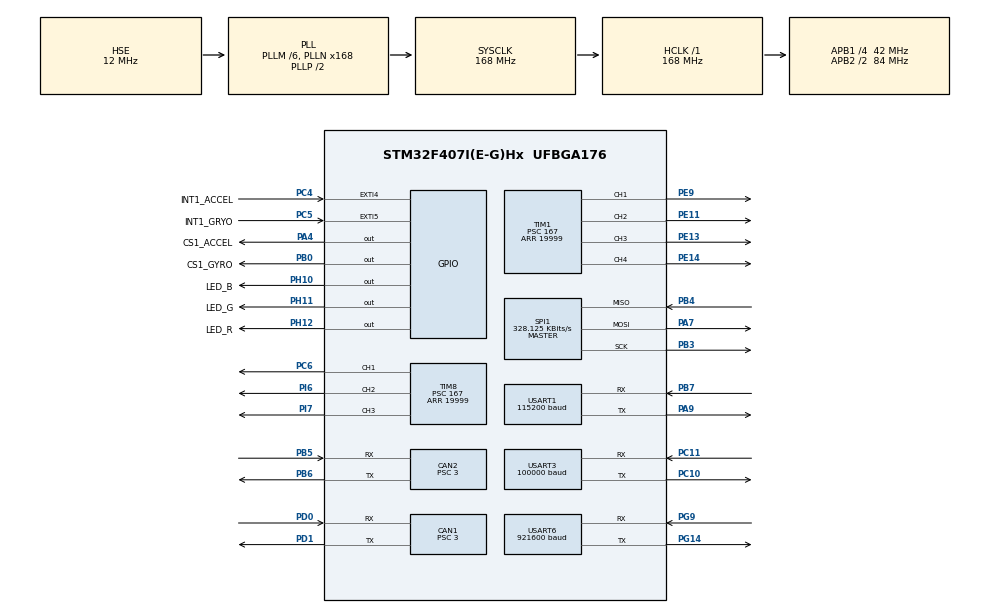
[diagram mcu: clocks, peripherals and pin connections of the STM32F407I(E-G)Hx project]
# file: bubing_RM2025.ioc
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CAN1.BS1=CAN_BS1_10TQ
CAN1.BS2=CAN_BS2_3TQ
CAN1.CalculateBaudRate=1000000
CAN1.CalculateTimeBit=1000
CAN1.CalculateTimeQuantum=71.42857142857143
CAN1.Prescaler=3
CAN2.BS1=CAN_BS1_10TQ
CAN2.BS2=CAN_BS2_3TQ
CAN2.CalculateBaudRate=1000000
CAN2.CalculateTimeBit=1000
CAN2.CalculateTimeQuantum=71.42857142857143
CAN2.Prescaler=3
Dma.Request0=USART6_TX
Dma.Request1=USART6_RX
Dma.Request2=USART3_RX
Dma.Request3=USART1_RX
Dma.Request4=USART1_TX
Dma.USART1_RX.3.Direction=DMA_PERIPH_TO_MEMORY
Dma.USART1_RX.3.FIFOMode=DMA_FIFOMODE_DISABLE
Dma.USART1_RX.3.Instance=DMA2_Stream2
Dma.USART1_RX.3.MemDataAlignment=DMA_MDATAALIGN_BYTE
Dma.USART1_RX.3.MemInc=DMA_MINC_ENABLE
Dma.USART1_RX.3.Mode=DMA_NORMAL
Dma.USART1_RX.3.PeriphDataAlignment=DMA_PDATAALIGN_BYTE
Dma.USART1_RX.3.PeriphInc=DMA_PINC_DISABLE
Dma.USART1_RX.3.Priority=DMA_PRIORITY_HIGH
Dma.USART1_TX.4.Direction=DMA_MEMORY_TO_PERIPH
Dma.USART1_TX.4.FIFOMode=DMA_FIFOMODE_DISABLE
Dma.USART1_TX.4.Instance=DMA2_Stream7
Dma.USART1_TX.4.MemDataAlignment=DMA_MDATAALIGN_BYTE
Dma.USART1_TX.4.MemInc=DMA_MINC_ENABLE
Dma.USART1_TX.4.Mode=DMA_NORMAL
Dma.USART1_TX.4.PeriphDataAlignment=DMA_PDATAALIGN_BYTE
Dma.USART1_TX.4.PeriphInc=DMA_PINC_DISABLE
Dma.USART1_TX.4.Priority=DMA_PRIORITY_HIGH
Dma.USART3_RX.2.Direction=DMA_PERIPH_TO_MEMORY
Dma.USART3_RX.2.FIFOMode=DMA_FIFOMODE_DISABLE
Dma.USART3_RX.2.Instance=DMA1_Stream1
Dma.USART3_RX.2.MemDataAlignment=DMA_MDATAALIGN_BYTE
Dma.USART3_RX.2.MemInc=DMA_MINC_ENABLE
Dma.USART3_RX.2.Mode=DMA_CIRCULAR
Dma.USART3_RX.2.PeriphDataAlignment=DMA_PDATAALIGN_BYTE
Dma.USART3_RX.2.PeriphInc=DMA_PINC_DISABLE
Dma.USART3_RX.2.Priority=DMA_PRIORITY_HIGH
Dma.USART6_RX.1.Direction=DMA_PERIPH_TO_MEMORY
Dma.USART6_RX.1.FIFOMode=DMA_FIFOMODE_DISABLE
Dma.USART6_RX.1.Instance=DMA2_Stream1
Dma.USART6_RX.1.MemDataAlignment=DMA_MDATAALIGN_BYTE
Dma.USART6_RX.1.MemInc=DMA_MINC_ENABLE
Dma.USART6_RX.1.Mode=DMA_CIRCULAR
Dma.USART6_RX.1.PeriphDataAlignment=DMA_PDATAALIGN_BYTE
Dma.USART6_RX.1.PeriphInc=DMA_PINC_DISABLE
Dma.USART6_RX.1.Priority=DMA_PRIORITY_MEDIUM
Dma.USART6_TX.0.Direction=DMA_MEMORY_TO_PERIPH
Dma.USART6_TX.0.FIFOMode=DMA_FIFOMODE_DISABLE
Dma.USART6_TX.0.Instance=DMA2_Stream6
Dma.USART6_TX.0.MemDataAlignment=DMA_MDATAALIGN_BYTE
Dma.USART6_TX.0.MemInc=DMA_MINC_ENABLE
Dma.USART6_TX.0.Mode=DMA_CIRCULAR
Dma.USART6_TX.0.PeriphDataAlignment=DMA_PDATAALIGN_BYTE
Dma.USART6_TX.0.PeriphInc=DMA_PINC_DISABLE
Dma.USART6_TX.0.Priority=DMA_PRIORITY_MEDIUM
FREERTOS.Tasks01=defaultTask,0,128,StartDefaultTask,Default,NULL,Dynamic,NULL,NULL;board_LED_task,-3,128,board_LED,As weak,NULL,Dynamic,NULL,NULL;uart_sent_test,-3,256,uart_sent_debug,As weak,NULL,Dynamic,NULL,NULL;err_dec_task,-3,256,error_detection,As weak,NULL,Dynamic,NULL,NULL;referee,-3,256,refree_task,As weak,NULL,Dynamic,NULL,NULL;imu_data,-3,256,IMU_DATA_GET,As weak,NULL,Dynamic,NULL,NULL;aim_uart_task,-3,256,servo_uart_sent,As weak,NULL,Dynamic,NULL,NULL
FREERTOS.configTOTAL_HEAP_SIZE=24576
FREERTOS.configUSE_NEWLIB_REENTRANT=1
FREERTOS.configUSE_TIMERS=0
Mcu.Family=STM32F4
Mcu.Name=STM32F407I(E-G)Hx
Mcu.Package=UFBGA176
NVIC.CAN1_RX0_IRQn=true\:5\:0\:false\:false\:true\:true\:true\:true\:true
NVIC.CAN2_RX0_IRQn=true\:5\:0\:false\:false\:true\:true\:true\:true\:true
NVIC.DMA1_Stream1_IRQn=true\:5\:0\:false\:false\:true\:true\:false\:true\:true
NVIC.DMA2_Stream1_IRQn=true\:5\:0\:false\:false\:true\:true\:false\:true\:true
NVIC.DMA2_Stream2_IRQn=true\:5\:0\:false\:false\:true\:true\:false\:true\:true
NVIC.DMA2_Stream6_IRQn=true\:5\:0\:false\:false\:true\:true\:false\:true\:true
NVIC.DMA2_Stream7_IRQn=true\:5\:0\:false\:false\:true\:true\:false\:true\:true
NVIC.PriorityGroup=NVIC_PRIORITYGROUP_4
NVIC.TIM7_IRQn=true\:15\:0\:false\:false\:true\:false\:false\:true\:true
NVIC.TimeBase=TIM7_IRQn
NVIC.TimeBaseIP=TIM7
NVIC.USART1_IRQn=true\:5\:0\:false\:false\:true\:true\:true\:true\:true
NVIC.USART3_IRQn=true\:5\:0\:false\:false\:true\:true\:true\:true\:true
NVIC.USART6_IRQn=true\:5\:0\:false\:false\:true\:true\:true\:true\:true
PA13.Mode=Serial_Wire
PA13.Signal=SYS_JTMS-SWDIO
PA14.Mode=Serial_Wire
PA14.Signal=SYS_JTCK-SWCLK
PA4.GPIO_Label=CS1_ACCEL
PA4.GPIO_PuPd=GPIO_PULLUP
PA4.GPIO_Speed=GPIO_SPEED_FREQ_HIGH
PA4.PinState=GPIO_PIN_SET
PA4.Signal=GPIO_Output
PA7.Mode=Full_Duplex_Master
PA7.Signal=SPI1_MOSI
PA9.Mode=Asynchronous
PA9.Signal=USART1_TX
PB0.GPIO_Label=CS1_GYRO
PB0.GPIO_PuPd=GPIO_PULLUP
PB0.GPIO_Speed=GPIO_SPEED_FREQ_HIGH
PB0.PinState=GPIO_PIN_SET
PB0.Signal=GPIO_Output
PB3.Mode=Full_Duplex_Master
PB3.Signal=SPI1_SCK
PB4.Mode=Full_Duplex_Master
PB4.Signal=SPI1_MISO
PB5.Mode=CAN_Activate
PB5.Signal=CAN2_RX
PB6.Mode=CAN_Activate
PB6.Signal=CAN2_TX
PB7.Mode=Asynchronous
PB7.Signal=USART1_RX
PC10.Mode=Asynchronous
PC10.Signal=USART3_TX
PC11.Mode=Asynchronous
PC11.Signal=USART3_RX
PC4.GPIO_Label=INT1_ACCEL
PC4.GPIO_PuPd=GPIO_PULLUP
PC4.Signal=GPXTI4
PC5.GPIO_Label=INT1_GRYO
PC5.GPIO_PuPd=GPIO_PULLUP
PC5.Signal=GPXTI5
PC6.Signal=S_TIM8_CH1
PD0.Mode=CAN_Activate
PD0.Signal=CAN1_RX
PD1.Mode=CAN_Activate
PD1.Signal=CAN1_TX
PE11.Signal=S_TIM1_CH2
PE13.Signal=S_TIM1_CH3
PE14.Signal=S_TIM1_CH4
PE9.Signal=S_TIM1_CH1
PG14.Mode=Asynchronous
PG14.Signal=USART6_TX
PG9.Mode=Asynchronous
PG9.Signal=USART6_RX
PH0-OSC_IN.Mode=HSE-External-Oscillator
PH0-OSC_IN.Signal=RCC_OSC_IN
PH1-OSC_OUT.Mode=HSE-External-Oscillator
PH1-OSC_OUT.Signal=RCC_OSC_OUT
PH10.GPIO_Label=LED_B
PH10.Signal=GPIO_Output
PH11.GPIO_Label=LED_G
PH11.Signal=GPIO_Output
PH12.GPIO_Label=LED_R
PH12.Signal=GPIO_Output
PI6.Signal=S_TIM8_CH2
PI7.Signal=S_TIM8_CH3
ProjectManager.HeapSize=0x200
ProjectManager.StackSize=0x400
ProjectManager.TargetToolchain=STM32CubeIDE
RCC.48MHZClocksFreq_Value=84000000
RCC.AHBFreq_Value=168000000
RCC.APB1CLKDivider=RCC_HCLK_DIV4
RCC.APB1Freq_Value=42000000
RCC.APB1TimFreq_Value=84000000
RCC.APB2CLKDivider=RCC_HCLK_DIV2
RCC.APB2Freq_Value=84000000
RCC.APB2TimFreq_Value=168000000
RCC.CortexFreq_Value=168000000
RCC.HCLKFreq_Value=168000000
RCC.HSE_VALUE=12000000
RCC.HSI_VALUE=16000000
RCC.LSE_VALUE=32768
RCC.PLLM=6
RCC.PLLN=168
RCC.PLLSourceVirtual=RCC_PLLSOURCE_HSE
RCC.SYSCLKFreq_VALUE=168000000
RCC.SYSCLKSource=RCC_SYSCLKSOURCE_PLLCLK
RCC.VCOOutputFreq_Value=336000000
SH.S_TIM1_CH1.0=TIM1_CH1,PWM Generation1 CH1
SH.S_TIM1_CH2.0=TIM1_CH2,PWM Generation2 CH2
SH.S_TIM1_CH3.0=TIM1_CH3,PWM Generation3 CH3
SH.S_TIM1_CH4.0=TIM1_CH4,PWM Generation4 CH4
SH.S_TIM8_CH1.0=TIM8_CH1,PWM Generation1 CH1
SH.S_TIM8_CH2.0=TIM8_CH2,PWM Generation2 CH2
SH.S_TIM8_CH3.0=TIM8_CH3,PWM Generation3 CH3
SPI1.BaudRatePrescaler=SPI_BAUDRATEPRESCALER_256
SPI1.CLKPhase=SPI_PHASE_2EDGE
SPI1.CLKPolarity=SPI_POLARITY_HIGH
SPI1.CalculateBaudRate=328.125 KBits/s
SPI1.Direction=SPI_DIRECTION_2LINES
SPI1.Mode=SPI_MODE_MASTER
SPI1.VirtualType=VM_MASTER
TIM1.Channel-PWM\ Generation1\ CH1=TIM_CHANNEL_1
TIM1.Channel-PWM\ Generation2\ CH2=TIM_CHANNEL_2
TIM1.Channel-PWM\ Generation3\ CH3=TIM_CHANNEL_3
TIM1.Channel-PWM\ Generation4\ CH4=TIM_CHANNEL_4
TIM1.Period=19999
TIM1.Prescaler=167
TIM1.Pulse-PWM\ Generation1\ CH1=2000
TIM1.Pulse-PWM\ Generation2\ CH2=2000
TIM1.Pulse-PWM\ Generation3\ CH3=2000
TIM1.Pulse-PWM\ Generation4\ CH4=2000
TIM8.Channel-PWM\ Generation1\ CH1=TIM_CHANNEL_1
TIM8.Channel-PWM\ Generation2\ CH2=TIM_CHANNEL_2
TIM8.Channel-PWM\ Generation3\ CH3=TIM_CHANNEL_3
TIM8.Period=19999
TIM8.Prescaler=167
TIM8.Pulse-PWM\ Generation1\ CH1=2000
TIM8.Pulse-PWM\ Generation2\ CH2=2000
TIM8.Pulse-PWM\ Generation3\ CH3=2000
USART1.BaudRate=115200
USART1.VirtualMode=VM_ASYNC
USART3.BaudRate=100000
USART3.Mode=MODE_RX
USART3.Parity=PARITY_EVEN
USART3.VirtualMode=VM_ASYNC
USART6.BaudRate=921600
USART6.VirtualMode=VM_ASYNC
VP_FREERTOS_VS_CMSIS_V1.Mode=CMSIS_V1
VP_SYS_VS_tim7.Mode=TIM7
VP_TIM1_VS_ClockSourceINT.Mode=Internal
VP_TIM8_VS_ClockSourceINT.Mode=Internal
board=custom

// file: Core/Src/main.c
/* USER CODE BEGIN Header */
/**
  ******************************************************************************
  * @file           : main.c
  * @brief          : Main program body
  ******************************************************************************
  * @attention
  *
  * Copyright (c) 2025 STMicroelectronics.
  * All rights reserved.
  *
  * This software is licensed under terms that can be found in the LICENSE file
  * in the root directory of this software component.
  * If no LICENSE file comes with this software, it is provided AS-IS.
  *
  ******************************************************************************
  */
/* USER CODE END Header */
#include "main.h"
#include "cmsis_os.h"
#include "can.h"
#include "dma.h"
#include "spi.h"
#include "tim.h"
#include "usart.h"
#include "gpio.h"

/* USER CODE BEGIN Includes */
#include <stdio.h>
#include "board_LED.h"
#include "uart_printf.h"
#include "uart_sent.h"
#include <math.h>
#include <stdbool.h>
#include "BMI088driver.h"
#include "IMU_DATA_GET.h"
#include "MahonyAHRS.h"

/* USER CODE END Includes */

/* USER CODE BEGIN PTD */

float receive_state = 0 ;

float gyro[3];
float acce[3];
float temp;
float INS_quat[4] = {1.0f, 0.0f, 0.0f, 0.0f};
float INS_angle[3] = {0.0f, 0.0f, 0.0f};
float INS_degree[3] = {0.0f, 0.0f, 0.0f};

float pitch_speed_from_bmi088 ;
float yaw_speed_from_bmi088 ;
float roll_speed_from_bmi088 ;

float pitch_angle_from_bmi088 ;
float yaw_angle_from_bmi088 ;
float roll_angle_from_bmi088 ;

float pitch_radian_from_bmi088 ;
float yaw_radian_from_bmi088 ;
float roll_radian_from_bmi088 ;

uint8_t servo_rx_buf[64]; // 接收缓冲区

int16_t servo00_angle ;
int16_t servo01_angle ;
int16_t servo02_angle ;
int16_t servo03_angle ;
int16_t servo04_angle ;

/* USER CODE END PTD */

void SystemClock_Config(void);
void MX_FREERTOS_Init(void);

int main(void)
{

  /* MCU Configuration--------------------------------------------------------*/

  /* Reset of all peripherals, Initializes the Flash interface and the Systick. */
  HAL_Init();

  /* Configure the system clock */
  SystemClock_Config();

  /* Initialize all configured peripherals */
  MX_GPIO_Init();
  MX_DMA_Init();
  MX_USART6_UART_Init();
  MX_USART3_UART_Init();
  MX_CAN1_Init();
  MX_CAN2_Init();
  MX_USART1_UART_Init();
  MX_TIM1_Init();
  MX_TIM8_Init();
  MX_SPI1_Init();
  /* USER CODE BEGIN 2 */
    HAL_UART_Receive_DMA(&huart1, servo_rx_buf, 10);

    HAL_Delay(4);

    BMI088_init();

  /* USER CODE END 2 */

  /* Call init function for freertos objects (in cmsis_os2.c) */
  MX_FREERTOS_Init();

  /* Start scheduler */
  osKernelStart();

  /* We should never get here as control is now taken by the scheduler */

  /* Infinite loop */
  while (1)
  {

  }
}

void SystemClock_Config(void)
{
  RCC_OscInitTypeDef RCC_OscInitStruct = {0};
  RCC_ClkInitTypeDef RCC_ClkInitStruct = {0};

  /** Configure the main internal regulator output voltage
  */
  __HAL_RCC_PWR_CLK_ENABLE();
  __HAL_PWR_VOLTAGESCALING_CONFIG(PWR_REGULATOR_VOLTAGE_SCALE1);

  /** Initializes the RCC Oscillators according to the specified parameters
  * in the RCC_OscInitTypeDef structure.
  */
  RCC_OscInitStruct.OscillatorType = RCC_OSCILLATORTYPE_HSE;
  RCC_OscInitStruct.HSEState = RCC_HSE_ON;
  RCC_OscInitStruct.PLL.PLLState = RCC_PLL_ON;
  RCC_OscInitStruct.PLL.PLLSource = RCC_PLLSOURCE_HSE;
  RCC_OscInitStruct.PLL.PLLM = 6;
  RCC_OscInitStruct.PLL.PLLN = 168;
  RCC_OscInitStruct.PLL.PLLP = RCC_PLLP_DIV2;
  RCC_OscInitStruct.PLL.PLLQ = 4;
  if (HAL_RCC_OscConfig(&RCC_OscInitStruct) != HAL_OK)
  {
    Error_Handler();
  }

  /** Initializes the CPU, AHB and APB buses clocks
  */
  RCC_ClkInitStruct.ClockType = RCC_CLOCKTYPE_HCLK|RCC_CLOCKTYPE_SYSCLK
                              |RCC_CLOCKTYPE_PCLK1|RCC_CLOCKTYPE_PCLK2;
  RCC_ClkInitStruct.SYSCLKSource = RCC_SYSCLKSOURCE_PLLCLK;
  RCC_ClkInitStruct.AHBCLKDivider = RCC_SYSCLK_DIV1;
  RCC_ClkInitStruct.APB1CLKDivider = RCC_HCLK_DIV4;
  RCC_ClkInitStruct.APB2CLKDivider = RCC_HCLK_DIV2;

  if (HAL_RCC_ClockConfig(&RCC_ClkInitStruct, FLASH_LATENCY_5) != HAL_OK)
  {
    Error_Handler();
  }
}

void HAL_TIM_PeriodElapsedCallback(TIM_HandleTypeDef *htim)
{
  if (htim->Instance == TIM7) {
    HAL_IncTick();
  }
}

void Error_Handler(void)
{
  __disable_irq();
  while (1)
  {
  }
}

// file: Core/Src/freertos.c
/* USER CODE BEGIN Header */
/**
  ******************************************************************************
  * File Name          : freertos.c
  * Description        : Code for freertos applications
  ******************************************************************************
  * @attention
  *
  * Copyright (c) 2025 STMicroelectronics.
  * All rights reserved.
  *
  * This software is licensed under terms that can be found in the LICENSE file
  * in the root directory of this software component.
  * If no LICENSE file comes with this software, it is provided AS-IS.
  *
  ******************************************************************************
  */
/* USER CODE END Header */

#include "FreeRTOS.h"
#include "task.h"
#include "main.h"
#include "cmsis_os.h"

osThreadId defaultTaskHandle;
osThreadId board_LED_taskHandle;
osThreadId uart_sent_testHandle;
osThreadId err_dec_taskHandle;
osThreadId refereeHandle;
osThreadId imu_dataHandle;
osThreadId aim_uart_taskHandle;

void StartDefaultTask(void const * argument);
void board_LED(void const * argument);
void uart_sent_debug(void const * argument);
void error_detection(void const * argument);
void refree_task(void const * argument);
void IMU_DATA_GET(void const * argument);
void servo_uart_sent(void const * argument);

void MX_FREERTOS_Init(void); /* (MISRA C 2004 rule 8.1) */

/* GetIdleTaskMemory prototype (linked to static allocation support) */
void vApplicationGetIdleTaskMemory( StaticTask_t **ppxIdleTaskTCBBuffer, StackType_t **ppxIdleTaskStackBuffer, uint32_t *pulIdleTaskStackSize );

/* USER CODE BEGIN GET_IDLE_TASK_MEMORY */
static StaticTask_t xIdleTaskTCBBuffer;
static StackType_t xIdleStack[configMINIMAL_STACK_SIZE];

void vApplicationGetIdleTaskMemory( StaticTask_t **ppxIdleTaskTCBBuffer, StackType_t **ppxIdleTaskStackBuffer, uint32_t *pulIdleTaskStackSize )
{
  *ppxIdleTaskTCBBuffer = &xIdleTaskTCBBuffer;
  *ppxIdleTaskStackBuffer = &xIdleStack[0];
  *pulIdleTaskStackSize = configMINIMAL_STACK_SIZE;
  /* place for user code */
}
/* USER CODE END GET_IDLE_TASK_MEMORY */

void MX_FREERTOS_Init(void) {

  /* Create the thread(s) */
  /* definition and creation of defaultTask */
  osThreadDef(defaultTask, StartDefaultTask, osPriorityNormal, 0, 128);
  defaultTaskHandle = osThreadCreate(osThread(defaultTask), NULL);

  /* definition and creation of board_LED_task */
  osThreadDef(board_LED_task, board_LED, osPriorityIdle, 0, 128);
  board_LED_taskHandle = osThreadCreate(osThread(board_LED_task), NULL);

  /* definition and creation of uart_sent_test */
  osThreadDef(uart_sent_test, uart_sent_debug, osPriorityIdle, 0, 256);
  uart_sent_testHandle = osThreadCreate(osThread(uart_sent_test), NULL);

  /* definition and creation of err_dec_task */
  osThreadDef(err_dec_task, error_detection, osPriorityIdle, 0, 256);
  err_dec_taskHandle = osThreadCreate(osThread(err_dec_task), NULL);

  /* definition and creation of referee */
  osThreadDef(referee, refree_task, osPriorityIdle, 0, 256);
  refereeHandle = osThreadCreate(osThread(referee), NULL);

  /* definition and creation of imu_data */
  osThreadDef(imu_data, IMU_DATA_GET, osPriorityIdle, 0, 256);
  imu_dataHandle = osThreadCreate(osThread(imu_data), NULL);

  /* definition and creation of aim_uart_task */
  osThreadDef(aim_uart_task, servo_uart_sent, osPriorityIdle, 0, 256);
  aim_uart_taskHandle = osThreadCreate(osThread(aim_uart_task), NULL);

}

void StartDefaultTask(void const * argument)
{
  for(;;)
  {
    osDelay(1);
  }
}

__weak void board_LED(void const * argument)
{
  for(;;)
  {
    osDelay(1);
  }
}

__weak void uart_sent_debug(void const * argument)
{
  for(;;)
  {
    osDelay(1);
  }
}

__weak void error_detection(void const * argument)
{
  for(;;)
  {
    osDelay(1);
  }
}

__weak void refree_task(void const * argument)
{
  for(;;)
  {
    osDelay(1);
  }
}

__weak void IMU_DATA_GET(void const * argument)
{
  for(;;)
  {
    osDelay(1);
  }
}

__weak void servo_uart_sent(void const * argument)
{
  for(;;)
  {
    osDelay(1);
  }
}
